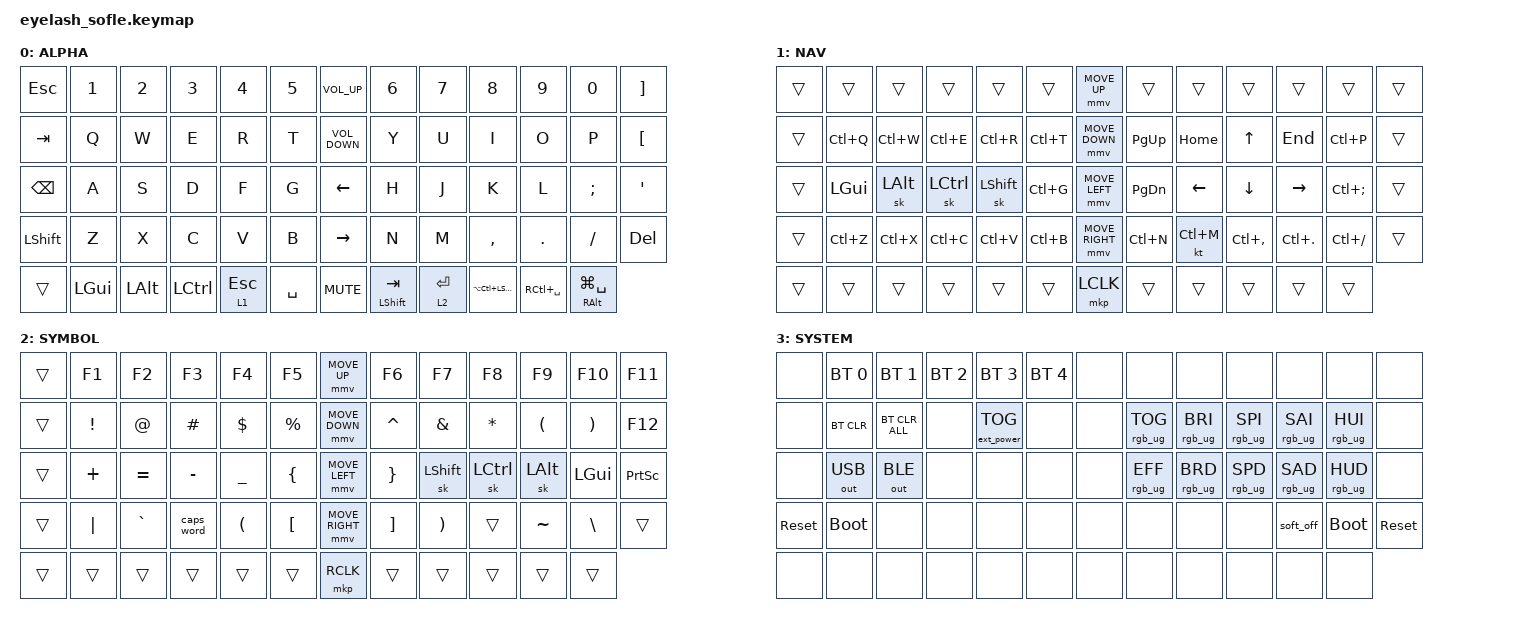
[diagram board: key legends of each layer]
#define ZMK_POINTING_DEFAULT_MOVE_VAL 1200  // 600
#define ZMK_POINTING_DEFAULT_SCRL_VAL 25   // 10

//  0  1  2  3  4  5      6      7  8  9 10 11 12
// 13 14 15 16 17 18     19     20 21 22 23 24 25
// 26 27 28 29 30 31     32     33 34 35 36 37 38
// 39 40 41 42 43 44     45     46 47 48 49 50 51
#define LEFT_KEYS 0 1 2 3 4 5 13 14 15 16 17 18  26 27 28 29 30 31 39 40 41 42 43 44 // left-hand keys
#define LEFT_THUMBS 53 54 55 56 57 // left-hand keys
#define RIGHT_KEYS 7 8 9 10 11 12 20 21 22 23 24 25 33 34 35 36 37 38 46 47 48 49 50 51 // right-hand keys
#define RIGHT_THUMBS 59 60 61 62 63 // right-hand thumbs

// colors
#define BLUE RGB_COLOR_HSB_VAL(233,85,50)
#define RED RGB_COLOR_HSB_VAL(0,85,50)


#include <input/processors.dtsi>
#include <zephyr/dt-bindings/input/input-event-codes.h>
#include <behaviors.dtsi>
#include <dt-bindings/zmk/bt.h>
#include <dt-bindings/zmk/ext_power.h>
#include <dt-bindings/zmk/keys.h>
#include <dt-bindings/zmk/outputs.h>
#include <dt-bindings/zmk/pointing.h>
#include <dt-bindings/zmk/rgb.h>

&mmv_input_listener { input-processors = <&zip_xy_scaler 2 1>; };

&msc_input_listener { input-processors = <&zip_scroll_scaler 2 1>; };


// mouse scroll
&msc {
    acceleration-exponent = <1>;      // 0
    time-to-max-speed-ms = <100>;       // 300
    delay-ms = <0>;                   // 0
};

// mouse move
&mmv {
    time-to-max-speed-ms = <500>;
    acceleration-exponent = <1>;
    trigger-period-ms = <16>;
};

/ {
    conditional_layers {
        compatible = "zmk,conditional-layers";

        sys_layer {
            if-layers = <1 2>;
            then-layer = <3>;
        };
    };
};

/ {
    combos { compatible = "zmk,combos"; };

    behaviors {
        hml: home_row_mod_left {
            compatible = "zmk,behavior-hold-tap";
            label = "HRM Left";
            #binding-cells = <2>;
            flavor = "balanced"; //produces a "hold" if another key is both pressed and released within the tapping-term.
            require-prior-idle-ms = <150>; // immediately resolves a HRM as "tap" when it is pressed shortly after another key has been tapped.
            tapping-term-ms = <280>; //how long a key must be pressed to trigger the "hold" behavior
            quick-tap-ms = <175>; //If you press a tapped hold-tap again within quick-tap-ms milliseconds of the first press, it will always trigger the tap behavior.
            bindings = <&kp>, <&kp>;
            hold-trigger-key-positions = <RIGHT_KEYS RIGHT_THUMBS>; // List of keys on the right side of the keyboard
            hold-trigger-on-release; //delays the positional-hold-tap decision until the next key's release. With this, mods can be combined when held
        };
        hmr: home_row_mod_right {
            compatible = "zmk,behavior-hold-tap";
            label = "HRM Right";
            #binding-cells = <2>;
            flavor = "balanced";
            require-prior-idle-ms = <150>;
            tapping-term-ms = <280>;
            quick-tap-ms = <175>;
            bindings = <&kp>, <&kp>;
            hold-trigger-key-positions = <LEFT_KEYS LEFT_THUMBS>; // List of keys on the left side of the keyboard
            hold-trigger-on-release;
        };
    };

    macros {
        lug: layer_underglow {
            compatible = "zmk,behavior-macro-two-param";
            #binding-cells = <2>;
            wait-ms = <0>;
            tap-ms = <0>;
            bindings
                = <&macro_param_1to1>
                , <&macro_press &mo MACRO_PLACEHOLDER>
                , <&macro_param_2to2>
                , <&macro_tap &rgb_ug RGB_ON &rgb_ug RGB_COLOR_HSB_CMD MACRO_PLACEHOLDER>
                , <&macro_pause_for_release>
                , <&macro_release>
                , <&macro_tap &rgb_ug RGB_OFF>;
        };
    };

    keymap {
        compatible = "zmk,keymap";

        alpha_layer {
            bindings = <
&kp ESCAPE  &kp N1        &kp N2         &kp N3          &kp N4          &kp N5          &kp C_VOLUME_UP         &kp N6             &kp N7          &kp N8            &kp N9          &kp N0                   &kp RIGHT_BRACKET
&kp TAB     &kp Q         &kp W          &kp E           &kp R           &kp T           &kp C_VOLUME_DOWN       &kp Y              &kp U           &kp I             &kp O           &kp P                    &kp LEFT_BRACKET
&kp BSPC    &kp A         &kp S          &kp D           &kp F           &kp G           &kp LEFT_ARROW          &kp H              &kp J           &kp K             &kp L           &kp SEMI                 &kp APOS
&kp LSHFT   &kp Z         &kp X          &kp C           &kp V           &kp B           &kp RIGHT_ARROW         &kp N              &kp M           &kp COMMA         &kp DOT         &kp FSLH                 &kp DELETE
&trans      &kp LGUI      &kp LALT       &kp LCTRL       &lt 1 ESCAPE    &kp SPACE       &kp C_MUTE              &mt LSHIFT TAB     &lt 2 ENTER     &kp LA(LC(LSHFT)) &kp RC(SPACE)   &mt RIGHT_ALT LG(SPACE)
            >;

            display-name = "ALPHA";
        };

        nav_layer {
            bindings = <
&trans      &trans        &trans        &trans           &trans          &trans          &mmv MOVE_UP            &trans             &trans          &trans          &trans            &trans                  &trans
&trans      &kp LC(Q)     &kp LC(W)     &kp LC(E)        &kp LC(R)       &kp LC(T)       &mmv MOVE_DOWN          &kp PG_UP          &kp HOME        &kp UP          &kp END           &kp LC(P)               &trans
&trans      &kp LGUI      &sk LALT      &sk LCTRL        &sk LSHIFT      &kp LC(G)       &mmv MOVE_LEFT          &kp PG_DN          &kp LEFT        &kp DOWN        &kp RIGHT         &kp LC(SEMI)            &trans
&trans      &kp LC(Z)     &kp LC(X)     &kp LC(C)        &kp LC(V)       &kp LC(B)       &mmv MOVE_RIGHT         &kp LC(N)          &kt LC(M)       &kp LC(COMMA)   &kp LC(PERIOD)    &kp LC(SLASH)           &trans
&trans      &trans        &trans        &trans           &trans          &trans          &mkp LCLK               &trans             &trans          &trans          &trans            &trans
            >;

            display-name = "NAV";
        };

        symb_layer {
            bindings = <
&trans      &kp F1        &kp F2        &kp F3           &kp F4                &kp F5          &mmv MOVE_UP            &kp F6             &kp F7                 &kp F8          &kp F9            &kp F10                &kp F11
&trans      &kp EXCL      &kp AT        &kp HASH         &kp DOLLAR            &kp PERCENT     &mmv MOVE_DOWN          &kp CARET          &kp AMPERSAND          &kp ASTERISK    &kp LPAR          &kp RPAR               &kp F12
&trans      &kp PLUS      &kp EQUAL     &kp MINUS        &kp UNDER             &kp LBRC        &mmv MOVE_LEFT          &kp RBRC           &sk LSHIFT             &sk LCTRL       &sk LALT          &kp LGUI               &kp PRINTSCREEN
&trans      &kp PIPE      &kp GRAVE     &caps_word       &kp LEFT_PARENTHESIS  &kp LBKT        &mmv MOVE_RIGHT         &kp RBKT           &kp RIGHT_PARENTHESIS  &trans          &kp TILDE         &kp BACKSLASH          &trans
&trans      &trans        &trans        &trans           &trans                &trans          &mkp RCLK               &trans             &trans                 &trans          &trans            &trans
            >;

            display-name = "SYMBOL";
        };

        sys_layer {
            bindings = <
&none       &bt BT_SEL 0  &bt BT_SEL 1    &bt BT_SEL 2  &bt BT_SEL 3       &bt BT_SEL 4  &none                   &none              &none           &none            &none            &none                  &none
&none       &bt BT_CLR    &bt BT_CLR_ALL  &none         &ext_power EP_TOG  &none         &none                   &rgb_ug RGB_TOG    &rgb_ug RGB_BRI &rgb_ug RGB_SPI  &rgb_ug RGB_SAI  &rgb_ug RGB_HUI        &none
&none       &out OUT_USB  &out OUT_BLE    &none         &none              &none         &none                   &rgb_ug RGB_EFF    &rgb_ug RGB_BRD &rgb_ug RGB_SPD  &rgb_ug RGB_SAD  &rgb_ug RGB_HUD        &none
&sys_reset  &bootloader   &none           &none         &none              &none         &none                   &none              &none           &none            &soft_off        &bootloader            &sys_reset
&none       &none         &none           &none         &none              &none         &none                   &none              &none           &none            &none            &none
            >;

            display-name = "SYSTEM";
        };
    };
};
